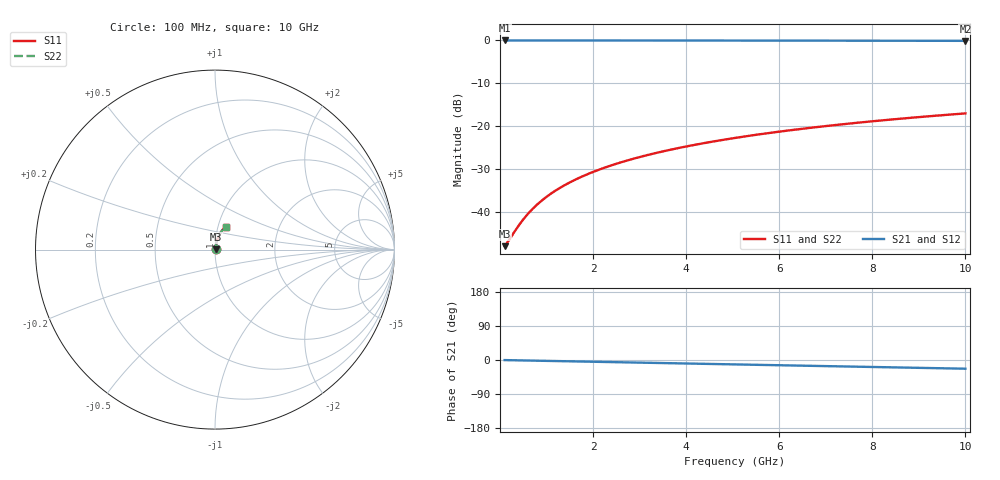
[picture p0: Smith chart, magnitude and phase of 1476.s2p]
# Hz S RI R 50.00
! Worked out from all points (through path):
!   100 points, 100 MHz to 10 GHz, reference 50 ohm
!   highest |S21| = -0.03 dB at 100 MHz (marker M1); lowest = -0.1 dB at 10 GHz (marker M2)
!   group delay of S21, straight-line fit = 6.38 ps
!   lowest |S11| = -47.9 dB at 100 MHz (marker M3), VSWR 1.01, Z = 50.4 + j0.145 ohm
!   |S11| at or under -10 dB: start of sweep to end of sweep
!   |S22| runs from -47.9 to -17.0 dB; largest |S21 - S12| = 0
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1e8  0.00375 0.00144  0.9962 -0.00401  0.9962 -0.00401  0.00375 0.00144
2e8  0.00379 0.00288  0.9962 -0.00802  0.9962 -0.00802  0.00379 0.00288
4e8  0.00389 0.00576  0.996 -0.016  0.996 -0.016  0.00389 0.00576
5e8  0.00395 0.0072  0.996 -0.0201  0.996 -0.0201  0.00395 0.0072
6e8  0.00403 0.00864  0.9958 -0.0241  0.9958 -0.0241  0.00403 0.00864
7e8  0.00411 0.0101  0.9957 -0.0281  0.9957 -0.0281  0.00411 0.0101
8e8  0.00421 0.0115  0.9956 -0.0321  0.9956 -0.0321  0.00421 0.0115
1e9  0.00443 0.0144  0.9952 -0.0401  0.9952 -0.0401  0.00443 0.0144
1.2e9  0.0047 0.0173  0.9948 -0.0481  0.9948 -0.0481  0.0047 0.0173
1.5e9  0.00519 0.0216  0.994 -0.0601  0.994 -0.0601  0.00519 0.0216
1.8e9  0.00577 0.0258  0.9931 -0.0721  0.9931 -0.0721  0.00577 0.0258
2.1e9  0.00646 0.0301  0.992 -0.0841  0.992 -0.0841  0.00646 0.0301
2.5e9  0.00754 0.0358  0.9903 -0.1  0.9903 -0.1  0.00754 0.0358
2.9e9  0.0088 0.0414  0.9883 -0.1159  0.9883 -0.1159  0.0088 0.0414
3.4e9  0.0106 0.0483  0.9855 -0.1357  0.9855 -0.1357  0.0106 0.0483
4.2e9  0.0141 0.0593  0.9799 -0.1672  0.9799 -0.1672  0.0141 0.0593
5.1e9  0.0189 0.0713  0.9724 -0.2023  0.9724 -0.2023  0.0189 0.0713
5.9e9  0.0238 0.0816  0.9645 -0.2332  0.9645 -0.2332  0.0238 0.0816
6.7e9  0.0294 0.0916  0.9555 -0.2637  0.9555 -0.2637  0.0294 0.0916
7.5e9  0.0356 0.1012  0.9455 -0.2938  0.9455 -0.2938  0.0356 0.1012
8.4e9  0.0433 0.1115  0.933 -0.3271  0.933 -0.3271  0.0433 0.1115
1e10  0.0586 0.1282  0.9076 -0.3847  0.9076 -0.3847  0.0586 0.1282
